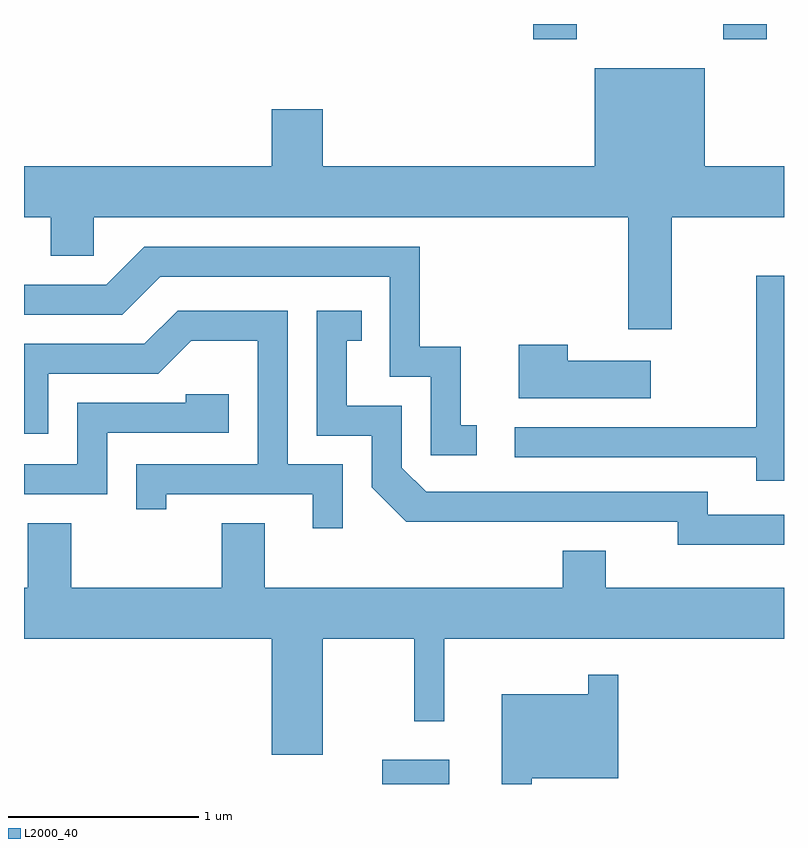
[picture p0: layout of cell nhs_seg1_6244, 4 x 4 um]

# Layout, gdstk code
import gdstk
lib = gdstk.Library(unit=1e-6, precision=1e-09)
def R(c, l, rs):  # rectangles x0, y0, x1, y1
    for r in rs: c.add(gdstk.rectangle(r[:2], r[2:], *l))
def P(c, l, *ps):  # polygons
    for p in ps: c.add(gdstk.Polygon(p, *l))
L2000_40 = (2000, 40)

nhs_seg1_6244 = lib.new_cell('nhs_seg1_6244')
R(nhs_seg1_6244, L2000_40, [(375.496,887.712,375.849,887.839), (376.291,891.631,376.519,891.712), (377.291,891.631,377.519,891.712)])
P(nhs_seg1_6244, L2000_40, [(377.019,890.696),(377.611,890.696),(377.611,890.964),(377.194,890.964),(377.194,891.479),(376.616,891.479),(376.616,890.964),(375.184,890.964),(375.184,891.264),(374.916,891.264),(374.916,890.964),(373.611,890.964),(373.611,890.696),(373.751,890.696),(373.751,890.491),(373.979,890.491),(373.979,890.696),(376.791,890.696),(376.791,890.106),(377.019,890.106)],
  [(375.993,889.599),(375.909,889.599),(375.909,890.014),(375.694,890.014),(375.694,890.539),(374.244,890.539),(374.044,890.339),(373.611,890.339),(373.611,890.181),(374.127,890.181),(374.327,890.381),(375.536,890.381),(375.536,889.856),(375.751,889.856),(375.751,889.441),(375.993,889.441)],
  [(377.611,890.388),(377.466,890.388),(377.466,889.589),(376.193,889.589),(376.193,889.431),(377.466,889.431),(377.466,889.308),(377.611,889.308)],
  [(377.611,889.129),(377.209,889.129),(377.209,889.249),(375.727,889.249),(375.599,889.377),(375.599,889.704),(375.309,889.704),(375.309,890.046),(375.388,890.046),(375.388,890.204),(375.151,890.204),(375.151,889.546),(375.441,889.546),(375.441,889.274),(375.624,889.091),(377.051,889.091),(377.051,888.971),(377.611,888.971)],
  [(375.289,889.394),(374.999,889.394),(374.999,890.204),(374.419,890.204),(374.244,890.029),(373.611,890.029),(373.611,889.556),(373.739,889.556),(373.739,889.871),(374.317,889.871),(374.492,890.046),(374.841,890.046),(374.841,889.394),(374.201,889.394),(374.201,889.158),(374.359,889.158),(374.359,889.236),(375.131,889.236),(375.131,889.058),(375.289,889.058)],
  [(376.909,889.939),(376.474,889.939),(376.474,890.024),(376.216,890.024),(376.216,889.741),(376.909,889.741)],
  [(374.049,889.561),(374.689,889.561),(374.689,889.764),(374.461,889.764),(374.461,889.719),(373.891,889.719),(373.891,889.394),(373.611,889.394),(373.611,889.236),(374.049,889.236)],
  [(374.651,889.084),(374.651,888.744),(373.859,888.744),(373.859,889.084),(373.631,889.084),(373.631,888.744),(373.611,888.744),(373.611,888.476),(374.916,888.476),(374.916,887.866),(375.184,887.866),(375.184,888.476),(375.666,888.476),(375.666,888.043),(375.824,888.043),(375.824,888.476),(377.611,888.476),(377.611,888.744),(376.674,888.744),(376.674,888.939),(376.446,888.939),(376.446,888.744),(374.879,888.744),(374.879,889.084)],
  [(376.284,887.741),(376.739,887.741),(376.739,888.288),(376.581,888.288),(376.581,888.184),(376.126,888.184),(376.126,887.712),(376.284,887.712)])

lib.write_gds('nhs_seg1_6244.gds')
